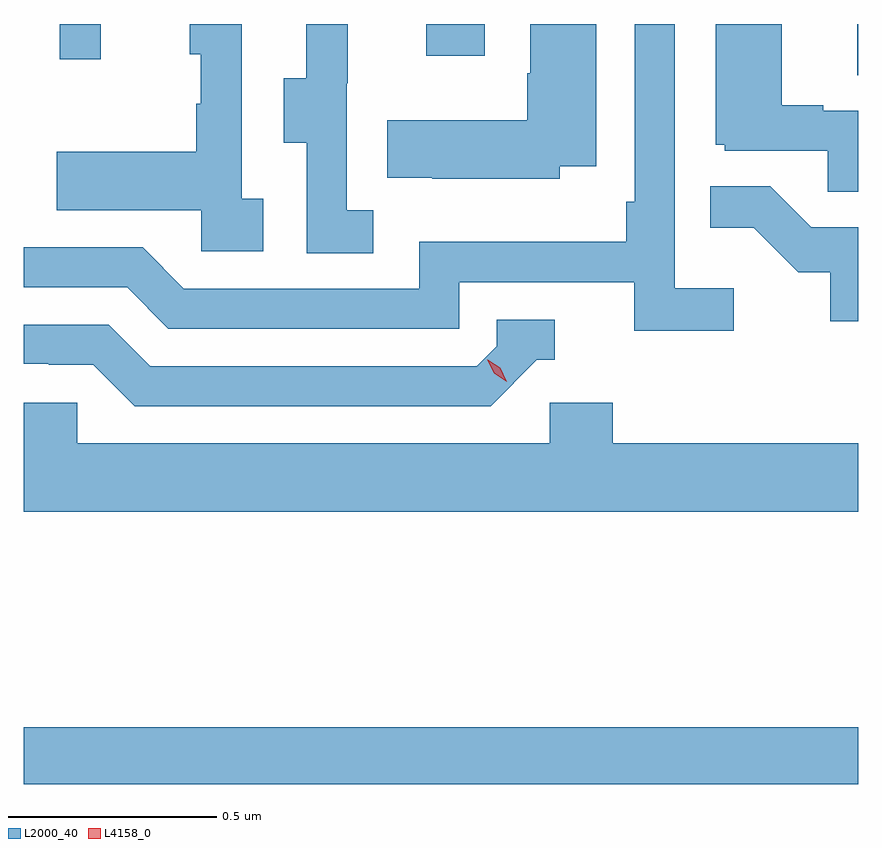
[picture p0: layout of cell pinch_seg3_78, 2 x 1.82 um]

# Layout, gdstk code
import gdstk
lib = gdstk.Library(unit=1e-6, precision=1e-09)
def R(c, l, rs):  # rectangles x0, y0, x1, y1
    for r in rs: c.add(gdstk.rectangle(r[:2], r[2:], *l))
def P(c, l, *ps):  # polygons
    for p in ps: c.add(gdstk.Polygon(p, *l))
L2000_40 = (2000, 40)
L4158_0 = (4158, 0)

pinch_seg3_78 = lib.new_cell('pinch_seg3_78')
R(pinch_seg3_78, L2000_40, [(1033.704,729.568,1035.704,729.704), (1035.701,731.266,1035.704,731.389), (1033.791,731.304,1033.889,731.389), (1034.669,731.313,1034.809,731.389)])
P(pinch_seg3_78, L2000_40, [(1035.704,731.181),(1035.62,731.181),(1035.62,731.194),(1035.52,731.194),(1035.52,731.389),(1035.362,731.389),(1035.362,731.1),(1035.384,731.1),(1035.384,731.085),(1035.631,731.085),(1035.631,730.987),(1035.704,730.987)],
  [(1034.278,730.97),(1034.226,730.97),(1034.226,731.389),(1034.102,731.389),(1034.102,731.316),(1034.128,731.316),(1034.128,731.198),(1034.118,731.198),(1034.118,731.083),(1033.783,731.083),(1033.783,730.943),(1034.13,730.943),(1034.13,730.845),(1034.278,730.845)],
  [(1034.542,730.943),(1034.478,730.943),(1034.478,731.247),(1034.48,731.247),(1034.48,731.389),(1034.381,731.389),(1034.381,731.259),(1034.327,731.259),(1034.327,731.104),(1034.382,731.104),(1034.382,730.84),(1034.542,730.84)],
  [(1034.989,731.048),(1035.076,731.048),(1035.076,731.389),(1034.918,731.389),(1034.918,731.271),(1034.911,731.271),(1034.911,731.158),(1034.575,731.158),(1034.575,731.021),(1034.683,731.021),(1034.683,731.018),(1034.989,731.018)],
  [(1035.406,730.756),(1035.264,730.756),(1035.264,731.389),(1035.168,731.389),(1035.168,730.963),(1035.148,730.963),(1035.148,730.867),(1034.652,730.867),(1034.652,730.755),(1034.088,730.755),(1033.989,730.854),(1033.704,730.854),(1033.704,730.758),(1033.952,730.758),(1034.051,730.659),(1034.748,730.659),(1034.748,730.77),(1035.167,730.77),(1035.167,730.654),(1035.406,730.654)],
  [(1035.704,730.902),(1035.591,730.902),(1035.493,731),(1035.349,731),(1035.349,730.901),(1035.453,730.901),(1035.56,730.794),(1035.637,730.794),(1035.637,730.677),(1035.704,730.677)],
  [(1034.934,730.584),(1034.977,730.584),(1034.977,730.68),(1034.838,730.68),(1034.838,730.617),(1034.79,730.569),(1034.007,730.569),(1033.908,730.668),(1033.704,730.668),(1033.704,730.575),(1033.764,730.575),(1033.764,730.572),(1033.871,730.572),(1033.97,730.473),(1034.823,730.473)],
  [(1035.704,730.384),(1035.116,730.384),(1035.116,730.482),(1034.964,730.482),(1034.964,730.384),(1033.833,730.384),(1033.833,730.482),(1033.704,730.482),(1033.704,730.22),(1035.704,730.22)])
P(pinch_seg3_78, L4158_0, [(1034.862,730.532),(1034.831,730.552),(1034.815,730.584),(1034.815,730.584),(1034.816,730.584),(1034.846,730.565),(1034.862,730.532),(1034.862,730.532)])

lib.write_gds('pinch_seg3_78.gds')
